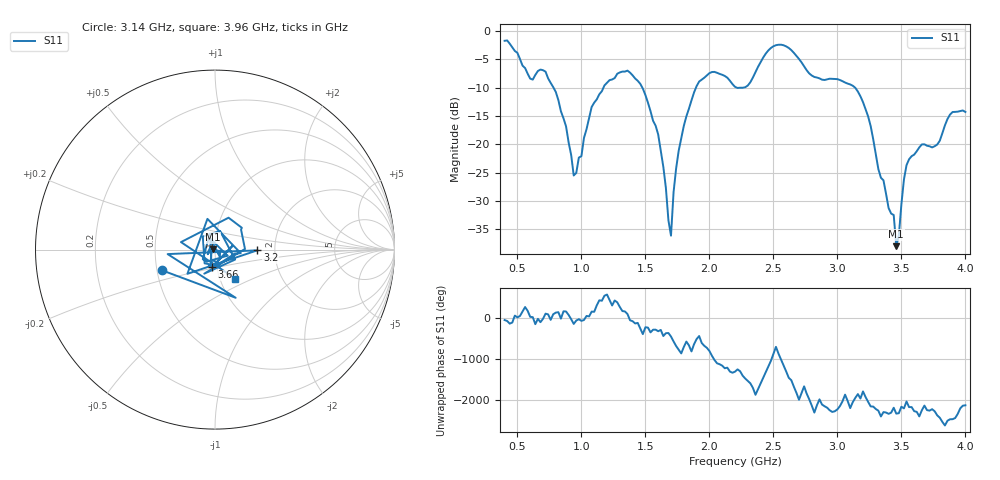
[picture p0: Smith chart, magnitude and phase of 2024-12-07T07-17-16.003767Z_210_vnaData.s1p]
!Created with skrf (http://scikit-rf.org).
# Hz S RI R 50.0
!freq ReS11 ImS11
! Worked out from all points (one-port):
!   181 points, 400 MHz to 4 GHz, reference 50 ohm
!   lowest |S11| = -38.0 dB at 3.46 GHz (marker M1), VSWR 1.03, Z = 48.8 + j0.0878 ohm
!   |S11| at or under -10 dB: 782 MHz to 1.172 GHz (390.3 MHz wide, 39.9 % of centre); 1.476 GHz to 1.895 GHz (419.1 MHz wide, 24.9 % of centre); 3.138 GHz to end of sweep (the widest 3 of 4)
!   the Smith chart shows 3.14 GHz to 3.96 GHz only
!   S11 on the Smith chart (normalised r, x): 3.14 GHz: 0.53, -0.14; 3.2 GHz: 1.62, -0.01; 3.66 GHz: 0.95, -0.19; 3.96 GHz: 1.18, -0.40
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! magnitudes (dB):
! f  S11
! 400 MHz  -1.7
! 600 MHz  -8.4
! 720 MHz  -7.2
! 860 MHz  -15.4
! 940 MHz  -25.5
! 1.08 GHz  -13.4
! 1.3 GHz  -7.3
! 1.46 GHz  -9.3
! 1.58 GHz  -16.7
! 1.64 GHz  -24.0
! 1.7 GHz  -36.1
! 1.72 GHz  -28.5
! 1.76 GHz  -21.2
! 1.92 GHz  -8.9
! 2.2 GHz  -9.9
! 2.5 GHz  -2.7
! 2.66 GHz  -3.9
! 3.1 GHz  -9.4
! 3.14 GHz  -10.0
! 3.2 GHz  -12.6
! 3.44 GHz  -32.5
! 3.46 GHz  -38.0
! 3.52 GHz  -26.2
! 3.56 GHz  -22.7
! 3.66 GHz  -20.0
! 3.78 GHz  -20.1
! 3.96 GHz  -14.1
! 4 GHz  -14.3
